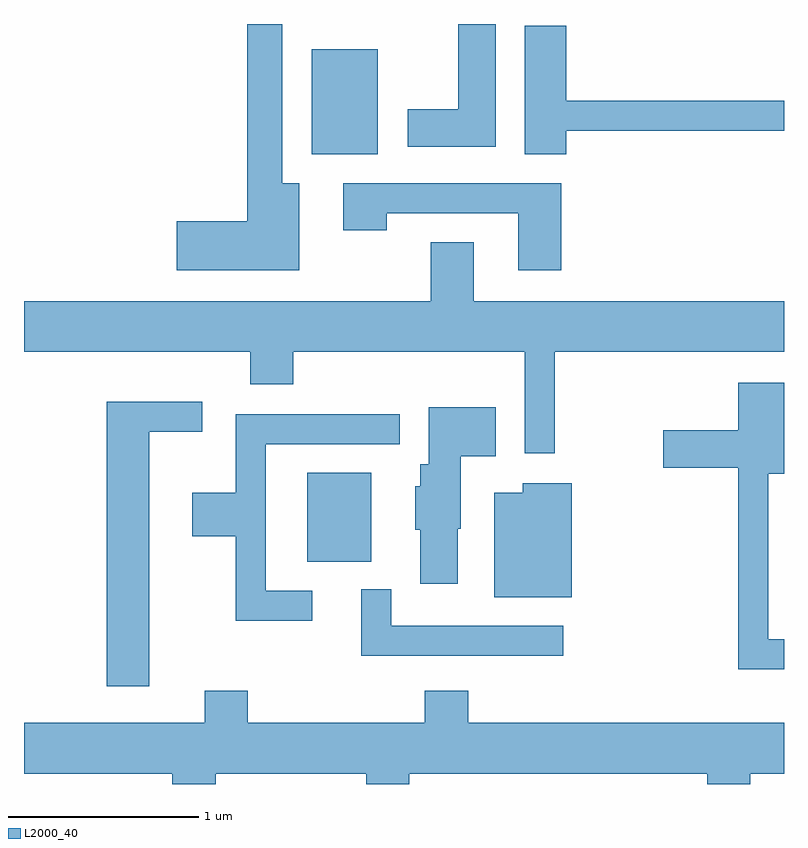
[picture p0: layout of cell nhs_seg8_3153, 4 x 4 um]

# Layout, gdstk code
import gdstk
lib = gdstk.Library(unit=1e-6, precision=1e-09)
def R(c, l, rs):  # rectangles x0, y0, x1, y1
    for r in rs: c.add(gdstk.rectangle(r[:2], r[2:], *l))
def P(c, l, *ps):  # polygons
    for p in ps: c.add(gdstk.Polygon(p, *l))
L2000_40 = (2000, 40)

nhs_seg8_3153 = lib.new_cell('nhs_seg8_3153')
R(nhs_seg8_3153, L2000_40, [(281.101,1857.511,281.439,1857.979), (281.126,1859.656,281.474,1860.209)])
P(nhs_seg8_3153, L2000_40, [(282.094,1860.342),(281.896,1860.342),(281.896,1859.894),(281.631,1859.894),(281.631,1859.696),(282.094,1859.696)],
  [(281.059,1859.504),(280.969,1859.504),(280.969,1860.342),(280.786,1860.342),(280.786,1859.304),(280.416,1859.304),(280.416,1859.046),(281.059,1859.046)],
  [(282.464,1859.781),(283.611,1859.781),(283.611,1859.939),(282.464,1859.939),(282.464,1860.334),(282.246,1860.334),(282.246,1859.656),(282.464,1859.656)],
  [(282.439,1859.504),(281.291,1859.504),(281.291,1859.256),(281.519,1859.256),(281.519,1859.346),(282.211,1859.346),(282.211,1859.046),(282.439,1859.046)],
  [(282.404,1858.616),(283.611,1858.616),(283.611,1858.884),(281.979,1858.884),(281.979,1859.194),(281.751,1859.194),(281.751,1858.884),(279.611,1858.884),(279.611,1858.616),(280.801,1858.616),(280.801,1858.446),(281.029,1858.446),(281.029,1858.616),(282.246,1858.616),(282.246,1858.083),(282.404,1858.083)],
  [(283.611,1857.104),(283.529,1857.104),(283.529,1857.976),(283.611,1857.976),(283.611,1858.454),(283.371,1858.454),(283.371,1858.204),(282.976,1858.204),(282.976,1858.006),(283.371,1858.006),(283.371,1856.946),(283.611,1856.946)],
  [(280.269,1858.196),(280.548,1858.196),(280.548,1858.354),(280.046,1858.354),(280.046,1856.856),(280.269,1856.856)],
  [(281.894,1857.685),(281.909,1857.685),(281.909,1858.066),(282.094,1858.066),(282.094,1858.324),(281.741,1858.324),(281.741,1858.024),(281.696,1858.024),(281.696,1857.909),(281.671,1857.909),(281.671,1857.681),(281.696,1857.681),(281.696,1857.396),(281.894,1857.396)],
  [(281.128,1857.359),(280.884,1857.359),(280.884,1858.131),(281.588,1858.131),(281.588,1858.289),(280.726,1858.289),(280.726,1857.874),(280.496,1857.874),(280.496,1857.646),(280.726,1857.646),(280.726,1857.201),(281.128,1857.201)],
  [(282.494,1857.924),(282.236,1857.924),(282.236,1857.874),(282.086,1857.874),(282.086,1857.326),(282.494,1857.326)],
  [(282.448,1857.174),(281.544,1857.174),(281.544,1857.368),(281.386,1857.368),(281.386,1857.016),(282.448,1857.016)],
  [(280.619,1856.396),(281.411,1856.396),(281.411,1856.342),(281.639,1856.342),(281.639,1856.396),(283.206,1856.396),(283.206,1856.342),(283.434,1856.342),(283.434,1856.396),(283.611,1856.396),(283.611,1856.664),(281.949,1856.664),(281.949,1856.834),(281.721,1856.834),(281.721,1856.664),(280.789,1856.664),(280.789,1856.834),(280.561,1856.834),(280.561,1856.664),(279.611,1856.664),(279.611,1856.396),(280.391,1856.396),(280.391,1856.342),(280.619,1856.342)])

lib.write_gds('nhs_seg8_3153.gds')
